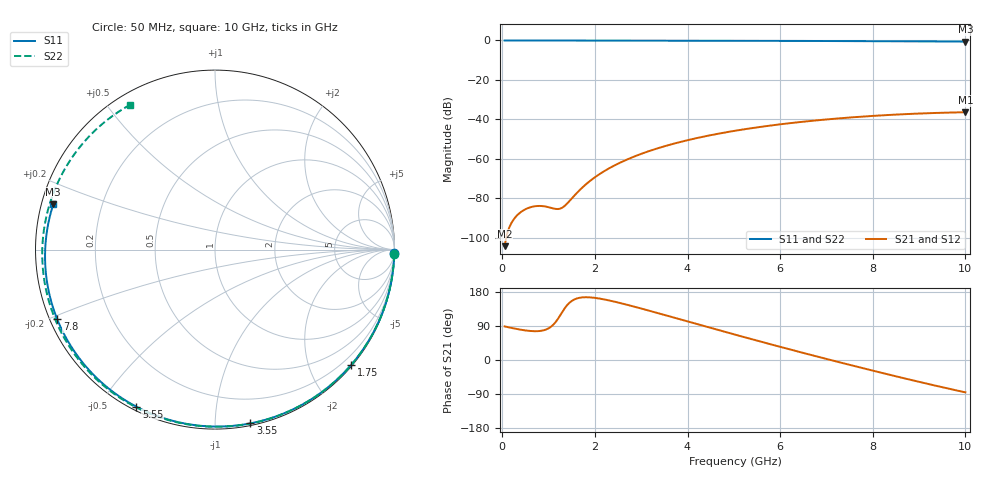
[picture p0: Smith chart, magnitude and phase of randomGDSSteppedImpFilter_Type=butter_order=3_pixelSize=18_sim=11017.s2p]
! freq	dB(S11)	phase(S11)	dB(S12)	phase(S12)
!  dB(S21)	phase(S21)	dB(S22)	phase(S22)
!S-par simulation data
#  GHz  S  DB  R 50
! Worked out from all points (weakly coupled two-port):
!   200 points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, 50 MHz to 10 GHz, reference 50 ohm
!   highest |S21| = -36.35 dB at 10 GHz (marker M1); lowest = -104.2 dB at 50 MHz (marker M2)
!   lowest |S11| = -0.6 dB at 10 GHz (marker M3), VSWR 30.14, Z = 1.69 + j6.84 ohm
!   |S11| at or under -10 dB: nowhere
!   |S22| runs from -0.6 to 0.0 dB; largest |S21 - S12| = 0
!   S11 on the Smith chart (normalised r, x): 50 MHz: open; 1.75 GHz: 0.02, -2.73; 3.55 GHz: 0.01, -1.22; 5.55 GHz: 0.01, -0.62; 7.8 GHz: 0.02, -0.21; 10 GHz: 0.03, +0.14
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0.05  -0.00 -1.1  -104.16 88.6  -104.16 88.6  -0.00 -1.5
0.4  -0.02 -9.3  -86.90 79.9  -86.90 79.9  -0.02 -12.1
0.75  -0.02 -17.5  -83.83 76.0  -83.83 76.0  -0.03 -22.7
1.1  -0.03 -25.5  -85.05 93.0  -85.05 93.0  -0.04 -33.1
1.5  -0.04 -34.6  -80.02 155.9  -80.02 155.9  -0.06 -44.7
1.75  -0.05 -40.2  -74.00 165.4  -74.00 165.4  -0.06 -51.8
2.05  -0.06 -46.9  -68.45 163.1  -68.45 163.1  -0.07 -60.2
2.25  -0.07 -51.2  -65.50 158.6  -65.50 158.6  -0.08 -65.6
2.45  -0.07 -55.5  -62.96 153.2  -62.96 153.2  -0.09 -71.0
2.9  -0.08 -65.1  -58.31 139.1  -58.31 139.1  -0.10 -82.7
3.4  -0.10 -75.4  -54.28 122.4  -54.28 122.4  -0.12 -95.3
3.55  -0.10 -78.5  -53.25 117.2  -53.25 117.2  -0.12 -98.9
4.25  -0.13 -92.3  -49.17 93.3  -49.17 93.3  -0.15 -115.4
5.05  -0.16 -107.4  -45.63 66.2  -45.63 66.2  -0.19 -133.2
5.55  -0.19 -116.6  -43.85 49.5  -43.85 49.5  -0.22 -143.9
6.15  -0.22 -127.3  -42.04 29.9  -42.04 29.9  -0.25 -156.5
6.7  -0.26 -137.0  -40.66 12.2  -40.66 12.2  -0.29 -168.0
7.25  -0.30 -146.6  -39.49 -5.0  -39.49 -5.0  -0.33 -179.3
7.8  -0.35 -156.1  -38.51 -22.0  -38.51 -22.0  -0.38 169.2
8.35  -0.40 -165.7  -37.72 -38.6  -37.72 -38.6  -0.42 157.5
9.15  -0.48 -179.9  -36.87 -61.9  -36.87 -61.9  -0.50 140.0
10  -0.58 164.4  -36.35 -85.4  -36.35 -85.4  -0.58 120.4
